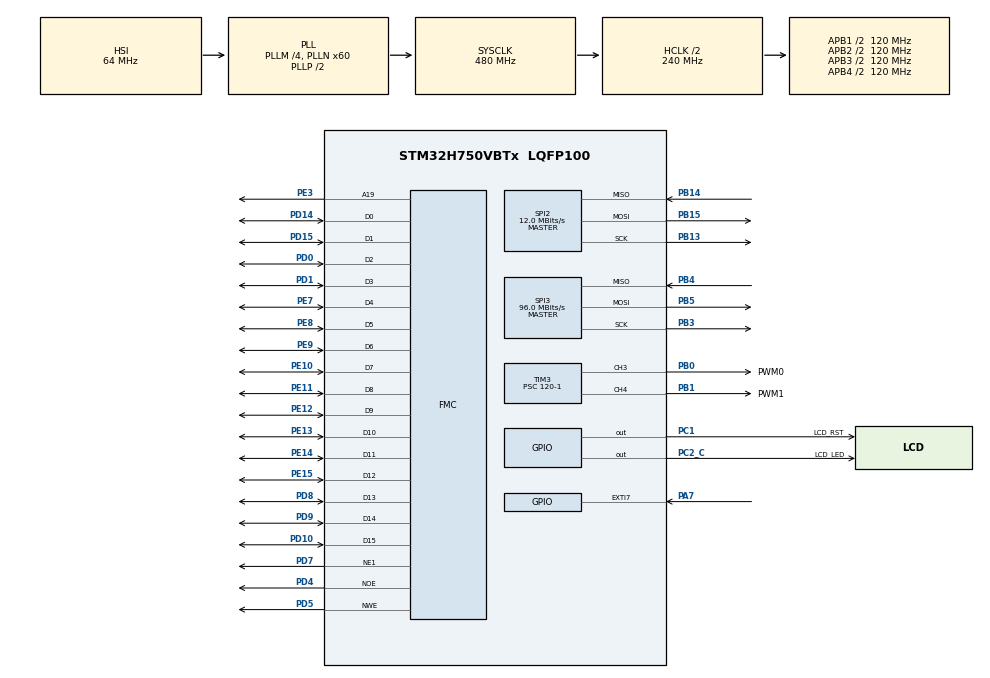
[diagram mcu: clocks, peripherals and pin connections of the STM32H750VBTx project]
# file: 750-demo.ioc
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CORTEX_M7.AccessPermission-Cortex_Memory_Protection_Unit_Region0_Settings=MPU_REGION_FULL_ACCESS
CORTEX_M7.AccessPermission-Cortex_Memory_Protection_Unit_Region1_Settings=MPU_REGION_FULL_ACCESS
CORTEX_M7.BaseAddress-Cortex_Memory_Protection_Unit_Region0_Settings=0x6000000
CORTEX_M7.BaseAddress-Cortex_Memory_Protection_Unit_Region1_Settings=0x24000000
CORTEX_M7.CPU_DCache=Enabled
CORTEX_M7.CPU_ICache=Enabled
CORTEX_M7.Enable-Cortex_Memory_Protection_Unit_Region0_Settings=MPU_REGION_ENABLE
CORTEX_M7.Enable-Cortex_Memory_Protection_Unit_Region1_Settings=MPU_REGION_ENABLE
CORTEX_M7.IsBufferable-Cortex_Memory_Protection_Unit_Region0_Settings=MPU_ACCESS_BUFFERABLE
CORTEX_M7.IsBufferable-Cortex_Memory_Protection_Unit_Region1_Settings=MPU_ACCESS_BUFFERABLE
CORTEX_M7.MPU_Control=MPU_PRIVILEGED_DEFAULT
CORTEX_M7.Size-Cortex_Memory_Protection_Unit_Region0_Settings=MPU_REGION_SIZE_256MB
CORTEX_M7.Size-Cortex_Memory_Protection_Unit_Region1_Settings=MPU_REGION_SIZE_512KB
CORTEX_M7.default_mode_Activation=0
Dma.Request0=TIM3_CH3
Dma.Request1=TIM3_CH4
Dma.Request2=SPI2_TX
Dma.Request3=SPI2_RX
Dma.SPI2_RX.3.Direction=DMA_PERIPH_TO_MEMORY
Dma.SPI2_RX.3.EventEnable=DISABLE
Dma.SPI2_RX.3.FIFOMode=DMA_FIFOMODE_DISABLE
Dma.SPI2_RX.3.Instance=DMA2_Stream1
Dma.SPI2_RX.3.MemDataAlignment=DMA_MDATAALIGN_HALFWORD
Dma.SPI2_RX.3.MemInc=DMA_MINC_ENABLE
Dma.SPI2_RX.3.Mode=DMA_NORMAL
Dma.SPI2_RX.3.PeriphDataAlignment=DMA_PDATAALIGN_HALFWORD
Dma.SPI2_RX.3.PeriphInc=DMA_PINC_DISABLE
Dma.SPI2_RX.3.Polarity=HAL_DMAMUX_REQ_GEN_RISING
Dma.SPI2_RX.3.Priority=DMA_PRIORITY_LOW
Dma.SPI2_RX.3.RequestNumber=1
Dma.SPI2_RX.3.SignalID=NONE
Dma.SPI2_RX.3.SyncEnable=DISABLE
Dma.SPI2_RX.3.SyncPolarity=HAL_DMAMUX_SYNC_NO_EVENT
Dma.SPI2_RX.3.SyncRequestNumber=1
Dma.SPI2_RX.3.SyncSignalID=NONE
Dma.SPI2_TX.2.Direction=DMA_MEMORY_TO_PERIPH
Dma.SPI2_TX.2.EventEnable=DISABLE
Dma.SPI2_TX.2.FIFOMode=DMA_FIFOMODE_DISABLE
Dma.SPI2_TX.2.Instance=DMA2_Stream0
Dma.SPI2_TX.2.MemDataAlignment=DMA_MDATAALIGN_HALFWORD
Dma.SPI2_TX.2.MemInc=DMA_MINC_ENABLE
Dma.SPI2_TX.2.Mode=DMA_NORMAL
Dma.SPI2_TX.2.PeriphDataAlignment=DMA_PDATAALIGN_HALFWORD
Dma.SPI2_TX.2.PeriphInc=DMA_PINC_DISABLE
Dma.SPI2_TX.2.Polarity=HAL_DMAMUX_REQ_GEN_RISING
Dma.SPI2_TX.2.Priority=DMA_PRIORITY_LOW
Dma.SPI2_TX.2.RequestNumber=1
Dma.SPI2_TX.2.SignalID=NONE
Dma.SPI2_TX.2.SyncEnable=DISABLE
Dma.SPI2_TX.2.SyncPolarity=HAL_DMAMUX_SYNC_NO_EVENT
Dma.SPI2_TX.2.SyncRequestNumber=1
Dma.SPI2_TX.2.SyncSignalID=NONE
Dma.TIM3_CH3.0.Direction=DMA_MEMORY_TO_PERIPH
Dma.TIM3_CH3.0.EventEnable=DISABLE
Dma.TIM3_CH3.0.FIFOMode=DMA_FIFOMODE_DISABLE
Dma.TIM3_CH3.0.Instance=DMA1_Stream0
Dma.TIM3_CH3.0.MemDataAlignment=DMA_MDATAALIGN_HALFWORD
Dma.TIM3_CH3.0.MemInc=DMA_MINC_ENABLE
Dma.TIM3_CH3.0.Mode=DMA_NORMAL
Dma.TIM3_CH3.0.PeriphDataAlignment=DMA_PDATAALIGN_HALFWORD
Dma.TIM3_CH3.0.PeriphInc=DMA_PINC_DISABLE
Dma.TIM3_CH3.0.Polarity=HAL_DMAMUX_REQ_GEN_RISING
Dma.TIM3_CH3.0.Priority=DMA_PRIORITY_MEDIUM
Dma.TIM3_CH3.0.RequestNumber=1
Dma.TIM3_CH3.0.SignalID=NONE
Dma.TIM3_CH3.0.SyncEnable=DISABLE
Dma.TIM3_CH3.0.SyncPolarity=HAL_DMAMUX_SYNC_NO_EVENT
Dma.TIM3_CH3.0.SyncRequestNumber=1
Dma.TIM3_CH3.0.SyncSignalID=NONE
Dma.TIM3_CH4.1.Direction=DMA_MEMORY_TO_PERIPH
Dma.TIM3_CH4.1.EventEnable=DISABLE
Dma.TIM3_CH4.1.FIFOMode=DMA_FIFOMODE_DISABLE
Dma.TIM3_CH4.1.Instance=DMA1_Stream1
Dma.TIM3_CH4.1.MemDataAlignment=DMA_MDATAALIGN_HALFWORD
Dma.TIM3_CH4.1.MemInc=DMA_MINC_ENABLE
Dma.TIM3_CH4.1.Mode=DMA_NORMAL
Dma.TIM3_CH4.1.PeriphDataAlignment=DMA_PDATAALIGN_HALFWORD
Dma.TIM3_CH4.1.PeriphInc=DMA_PINC_DISABLE
Dma.TIM3_CH4.1.Polarity=HAL_DMAMUX_REQ_GEN_RISING
Dma.TIM3_CH4.1.Priority=DMA_PRIORITY_MEDIUM
Dma.TIM3_CH4.1.RequestNumber=1
Dma.TIM3_CH4.1.SignalID=NONE
Dma.TIM3_CH4.1.SyncEnable=DISABLE
Dma.TIM3_CH4.1.SyncPolarity=HAL_DMAMUX_SYNC_NO_EVENT
Dma.TIM3_CH4.1.SyncRequestNumber=1
Dma.TIM3_CH4.1.SyncSignalID=NONE
FMC.AddressSetupTime1=2
FMC.DataSetupTime1=5
FMC.ExtendedAddressSetupTime1=0
FMC.ExtendedDataSetupTime1=4
FMC.ExtendedMode1=FMC_EXTENDED_MODE_ENABLE
Mcu.Family=STM32H7
Mcu.Name=STM32H750VBTx
Mcu.Package=LQFP100
NVIC.DMA1_Stream0_IRQn=true\:0\:0\:false\:false\:true\:false\:true\:true
NVIC.DMA1_Stream1_IRQn=true\:0\:0\:false\:false\:true\:false\:true\:true
NVIC.DMA2_Stream0_IRQn=true\:0\:0\:false\:false\:true\:false\:true\:true
NVIC.DMA2_Stream1_IRQn=true\:0\:0\:false\:false\:true\:false\:true\:true
NVIC.EXTI9_5_IRQn=true\:3\:0\:true\:false\:true\:true\:true\:true
NVIC.PriorityGroup=NVIC_PRIORITYGROUP_4
NVIC.SPI2_IRQn=true\:0\:0\:false\:false\:true\:false\:true\:true
PA13\ (JTMS/SWDIO).Mode=Serial_Wire
PA13\ (JTMS/SWDIO).Signal=DEBUG_JTMS-SWDIO
PA14\ (JTCK/SWCLK).Mode=Serial_Wire
PA14\ (JTCK/SWCLK).Signal=DEBUG_JTCK-SWCLK
PA7.Signal=GPXTI7
PB0.GPIO_Label=PWM0
PB0.Signal=S_TIM3_CH3
PB1.GPIO_Label=PWM1
PB1.Signal=S_TIM3_CH4
PB12.Signal=SPI2_NSS
PB13.Mode=Full_Duplex_Master
PB13.Signal=SPI2_SCK
PB14.Mode=Full_Duplex_Master
PB14.Signal=SPI2_MISO
PB15.Mode=Full_Duplex_Master
PB15.Signal=SPI2_MOSI
PB3\ (JTDO/TRACESWO).Mode=Full_Duplex_Master
PB3\ (JTDO/TRACESWO).Signal=SPI3_SCK
PB4\ (NJTRST).Mode=Full_Duplex_Master
PB4\ (NJTRST).Signal=SPI3_MISO
PB5.Mode=Full_Duplex_Master
PB5.Signal=SPI3_MOSI
PC1.GPIO_Label=LCD_RST
PC1.GPIO_Speed=GPIO_SPEED_FREQ_HIGH
PC1.PinState=GPIO_PIN_SET
PC1.Signal=GPIO_Output
PC2_C.GPIO_Label=LCD_LED
PC2_C.GPIO_Speed=GPIO_SPEED_FREQ_HIGH
PC2_C.PinState=GPIO_PIN_SET
PC2_C.Signal=GPIO_Output
PD0.Signal=FMC_D2_DA2
PD1.Signal=FMC_D3_DA3
PD10.Signal=FMC_D15_DA15
PD14.Signal=FMC_D0_DA0
PD15.Signal=FMC_D1_DA1
PD4.Signal=FMC_NOE
PD5.Signal=FMC_NWE
PD7.Mode=NorPsramChipSelect1_1
PD7.Signal=FMC_NE1
PD8.Signal=FMC_D13_DA13
PD9.Signal=FMC_D14_DA14
PE10.Signal=FMC_D7_DA7
PE11.Signal=FMC_D8_DA8
PE12.Signal=FMC_D9_DA9
PE13.Signal=FMC_D10_DA10
PE14.Signal=FMC_D11_DA11
PE15.Signal=FMC_D12_DA12
PE3.Signal=FMC_A19
PE7.Signal=FMC_D4_DA4
PE8.Signal=FMC_D5_DA5
PE9.Signal=FMC_D6_DA6
PH0-OSC_IN\ (PH0).Mode=HSE-External-Oscillator
PH0-OSC_IN\ (PH0).Signal=RCC_OSC_IN
PH1-OSC_OUT\ (PH1).Mode=HSE-External-Oscillator
PH1-OSC_OUT\ (PH1).Signal=RCC_OSC_OUT
ProjectManager.HeapSize=0x200
ProjectManager.StackSize=0x400
ProjectManager.TargetToolchain=MDK-ARM V5.27
RCC.ADCFreq_Value=129000000
RCC.APB1Freq_Value=120000000
RCC.APB2Freq_Value=120000000
RCC.APB3Freq_Value=120000000
RCC.APB4Freq_Value=120000000
RCC.CortexFreq_Value=480000000
RCC.D1PPRE=RCC_APB3_DIV2
RCC.D2PPRE1=RCC_APB1_DIV2
RCC.D2PPRE2=RCC_APB2_DIV2
RCC.D3PPRE=RCC_APB4_DIV2
RCC.DIVM1=4
RCC.DIVN1=60
RCC.DIVQ1=5
RCC.HCLKFreq_Value=240000000
RCC.HPRE=RCC_HCLK_DIV2
RCC.HSE_VALUE=24000000
RCC.PLL2FRACN=0
RCC.PLL3FRACN=0
RCC.PLLFRACN=0
RCC.SYSCLKFreq_VALUE=480000000
RCC.SYSCLKSource=RCC_SYSCLKSOURCE_PLLCLK
RCC.USBFreq_Value=192000000
SH.FMC_A19.0=FMC_A19,A19_1
SH.FMC_D0_DA0.0=FMC_D0,16b-d1
SH.FMC_D10_DA10.0=FMC_D10,16b-d1
SH.FMC_D11_DA11.0=FMC_D11,16b-d1
SH.FMC_D12_DA12.0=FMC_D12,16b-d1
SH.FMC_D13_DA13.0=FMC_D13,16b-d1
SH.FMC_D14_DA14.0=FMC_D14,16b-d1
SH.FMC_D15_DA15.0=FMC_D15,16b-d1
SH.FMC_D1_DA1.0=FMC_D1,16b-d1
SH.FMC_D2_DA2.0=FMC_D2,16b-d1
SH.FMC_D3_DA3.0=FMC_D3,16b-d1
SH.FMC_D4_DA4.0=FMC_D4,16b-d1
SH.FMC_D5_DA5.0=FMC_D5,16b-d1
SH.FMC_D6_DA6.0=FMC_D6,16b-d1
SH.FMC_D7_DA7.0=FMC_D7,16b-d1
SH.FMC_D8_DA8.0=FMC_D8,16b-d1
SH.FMC_D9_DA9.0=FMC_D9,16b-d1
SH.FMC_NOE.0=FMC_NOE,Lcd1
SH.FMC_NWE.0=FMC_NWE,Lcd1
SH.S_TIM3_CH3.0=TIM3_CH3,PWM Generation3 CH3
SH.S_TIM3_CH4.0=TIM3_CH4,PWM Generation4 CH4
SPI2.BaudRatePrescaler=SPI_BAUDRATEPRESCALER_16
SPI2.CalculateBaudRate=12.0 MBits/s
SPI2.DataSize=SPI_DATASIZE_16BIT
SPI2.Direction=SPI_DIRECTION_2LINES
SPI2.Mode=SPI_MODE_MASTER
SPI2.VirtualType=VM_MASTER
SPI3.CalculateBaudRate=96.0 MBits/s
SPI3.Direction=SPI_DIRECTION_2LINES
SPI3.Mode=SPI_MODE_MASTER
SPI3.VirtualType=VM_MASTER
TIM3.Channel-PWM\ Generation3\ CH3=TIM_CHANNEL_3
TIM3.Channel-PWM\ Generation4\ CH4=TIM_CHANNEL_4
TIM3.OCMode_PWM-PWM\ Generation4\ CH4=TIM_OCMODE_PWM2
TIM3.Period=100
TIM3.Prescaler=120-1
TIM3.Pulse-PWM\ Generation3\ CH3=50
TIM3.Pulse-PWM\ Generation4\ CH4=50
VP_TIM3_VS_ClockSourceINT.Mode=Internal
board=custom

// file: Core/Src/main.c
/* USER CODE BEGIN Header */
/**
  ******************************************************************************
  * @file           : main.c
  * @brief          : Main program body
  ******************************************************************************
  * @attention
  *
  * Copyright (c) 2024 STMicroelectronics.
  * All rights reserved.
  *
  * This software is licensed under terms that can be found in the LICENSE file
  * in the root directory of this software component.
  * If no LICENSE file comes with this software, it is provided AS-IS.
  *
  ******************************************************************************
  */
/* USER CODE END Header */
#include "main.h"
#include "stdbool.h"
#include "as3933.h"
/* USER CODE BEGIN Includes */
 #define  pwm0_test_number           100
  #define  pwm1_test_number           100
  #define pwm0_channel                  TIM_CHANNEL_3
   #define pwm1_channel                  TIM_CHANNEL_4

 #define pwm_test_count                 2

 uint16_t pwm0_test[16]={0};
  uint16_t pwm1_test[16]={0};
/* USER CODE END Includes */

/* USER CODE BEGIN PTD */

volatile bool o_wake = 0;

bool o_dat_pin = false;
bool o_cl_dat_pin = false;
uint8_t i = 0;
uint8_t j = 0;
uint8_t b_rssi = 0;
uint8_t test_result[10] = { 0 };

uint8_t b_received_data = 0;
/* USER CODE END PTD */

SPI_HandleTypeDef hspi2;
SPI_HandleTypeDef hspi3;
DMA_HandleTypeDef hdma_spi2_tx;
DMA_HandleTypeDef hdma_spi2_rx;

TIM_HandleTypeDef htim3;
DMA_HandleTypeDef hdma_tim3_ch3;
DMA_HandleTypeDef hdma_tim3_ch4;

SRAM_HandleTypeDef hsram1;

void SystemClock_Config(void);
static void MPU_Config(void);
static void MX_GPIO_Init(void);
static void MX_DMA_Init(void);
static void MX_FMC_Init(void);
static void MX_TIM3_Init(void);
static void MX_SPI2_Init(void);
static void MX_SPI3_Init(void);
/* USER CODE BEGIN PFP */
void PWM_Transmit(uint16_t channel);//pwm transmit
void dwt_enable(void);

void dwt_enable(void)
{
	//24.Bit TRCENA in Debug Exception and Monitor Control Register must be set before enable DWT
	CoreDebug->DEMCR |= CoreDebug_DEMCR_TRCENA_Msk;
	// CYCCNT is a free running counter, counting upwards.32 bits. 2^32 / cpuFreq = max time
	DWT->CYCCNT = 0u; // initialize the counter to 0
	DWT->CTRL |= DWT_CTRL_CYCCNTENA_Msk; // Enable the CYCCNT counter.
}
void PWM_Transmit(uint16_t channel)//pwm transmit
{
    if(channel==pwm0_channel)
  {
        for(uint16_t i=0;i<16;i++)
    {
       pwm0_test[i]=pwm_test_count/2;
    }
    pwm0_test[15]=0;
    HAL_TIM_PWM_Start_DMA(&htim3,channel,(uint32_t*)pwm0_test,16);
  }
    else
    {
    for(uint16_t i=0;i<16;i++)
  {
       pwm1_test[i]=pwm_test_count/2;
    }
    pwm1_test[15]=pwm_test_count;

    HAL_TIM_PWM_Start_DMA(&htim3,channel,(uint32_t*)pwm1_test,16);
  }
}

/* USER CODE END PFP */

int main(void)
{

  /* MPU Configuration--------------------------------------------------------*/
  MPU_Config();
/* Enable the CPU Cache */

  /* Enable I-Cache---------------------------------------------------------*/
  SCB_EnableICache();

  /* Enable D-Cache---------------------------------------------------------*/
  SCB_EnableDCache();

  /* MCU Configuration--------------------------------------------------------*/

  /* Reset of all peripherals, Initializes the Flash interface and the Systick. */
  HAL_Init();

  /* Configure the system clock */
  SystemClock_Config();

  /* Initialize all configured peripherals */
  MX_GPIO_Init();
  MX_DMA_Init();
  MX_FMC_Init();
  MX_TIM3_Init();
  MX_SPI2_Init();
  MX_SPI3_Init();
  /* USER CODE BEGIN 2 */

    AS3933_INIT();
    HAL_GPIO_WritePin(GPIOB,GPIO_PIN_2,GPIO_PIN_SET);//sleep拉高
  /* USER CODE END 2 */

  /* Infinite loop */
  while (1)
  {

    /* USER CODE BEGIN 3 */
     for(uint16_t i=1;i<9;i++)
      {
      PWM_Transmit( pwm0_channel);

      PWM_Transmit( pwm1_channel);
          HAL_Delay(100);
      }
        HAL_Delay(500);
  /* USER CODE END 3 */
    }
}

void SystemClock_Config(void)
{
  RCC_OscInitTypeDef RCC_OscInitStruct = {0};
  RCC_ClkInitTypeDef RCC_ClkInitStruct = {0};

  /** Supply configuration update enable
  */
  HAL_PWREx_ConfigSupply(PWR_LDO_SUPPLY);

  /** Configure the main internal regulator output voltage
  */
  __HAL_PWR_VOLTAGESCALING_CONFIG(PWR_REGULATOR_VOLTAGE_SCALE1);

  while(!__HAL_PWR_GET_FLAG(PWR_FLAG_VOSRDY)) {}

  __HAL_RCC_SYSCFG_CLK_ENABLE();
  __HAL_PWR_VOLTAGESCALING_CONFIG(PWR_REGULATOR_VOLTAGE_SCALE0);

  while(!__HAL_PWR_GET_FLAG(PWR_FLAG_VOSRDY)) {}

  /** Initializes the RCC Oscillators according to the specified parameters
  * in the RCC_OscInitTypeDef structure.
  */
  RCC_OscInitStruct.OscillatorType = RCC_OSCILLATORTYPE_HSI;
  RCC_OscInitStruct.HSIState = RCC_HSI_DIV1;
  RCC_OscInitStruct.HSICalibrationValue = RCC_HSICALIBRATION_DEFAULT;
  RCC_OscInitStruct.PLL.PLLState = RCC_PLL_ON;
  RCC_OscInitStruct.PLL.PLLSource = RCC_PLLSOURCE_HSI;
  RCC_OscInitStruct.PLL.PLLM = 4;
  RCC_OscInitStruct.PLL.PLLN = 60;
  RCC_OscInitStruct.PLL.PLLP = 2;
  RCC_OscInitStruct.PLL.PLLQ = 5;
  RCC_OscInitStruct.PLL.PLLR = 2;
  RCC_OscInitStruct.PLL.PLLRGE = RCC_PLL1VCIRANGE_3;
  RCC_OscInitStruct.PLL.PLLVCOSEL = RCC_PLL1VCOWIDE;
  RCC_OscInitStruct.PLL.PLLFRACN = 0;
  if (HAL_RCC_OscConfig(&RCC_OscInitStruct) != HAL_OK)
  {
    Error_Handler();
  }

  /** Initializes the CPU, AHB and APB buses clocks
  */
  RCC_ClkInitStruct.ClockType = RCC_CLOCKTYPE_HCLK|RCC_CLOCKTYPE_SYSCLK
                              |RCC_CLOCKTYPE_PCLK1|RCC_CLOCKTYPE_PCLK2
                              |RCC_CLOCKTYPE_D3PCLK1|RCC_CLOCKTYPE_D1PCLK1;
  RCC_ClkInitStruct.SYSCLKSource = RCC_SYSCLKSOURCE_PLLCLK;
  RCC_ClkInitStruct.SYSCLKDivider = RCC_SYSCLK_DIV1;
  RCC_ClkInitStruct.AHBCLKDivider = RCC_HCLK_DIV2;
  RCC_ClkInitStruct.APB3CLKDivider = RCC_APB3_DIV2;
  RCC_ClkInitStruct.APB1CLKDivider = RCC_APB1_DIV2;
  RCC_ClkInitStruct.APB2CLKDivider = RCC_APB2_DIV2;
  RCC_ClkInitStruct.APB4CLKDivider = RCC_APB4_DIV2;

  if (HAL_RCC_ClockConfig(&RCC_ClkInitStruct, FLASH_LATENCY_4) != HAL_OK)
  {
    Error_Handler();
  }
}

static void MX_SPI2_Init(void)
{

  /* SPI2 parameter configuration*/
  hspi2.Instance = SPI2;
  hspi2.Init.Mode = SPI_MODE_MASTER;
  hspi2.Init.Direction = SPI_DIRECTION_2LINES;
  hspi2.Init.DataSize = SPI_DATASIZE_8BIT;
  hspi2.Init.CLKPolarity = SPI_POLARITY_LOW;
  hspi2.Init.CLKPhase = SPI_PHASE_1EDGE;
  hspi2.Init.NSS = SPI_NSS_SOFT;
  hspi2.Init.BaudRatePrescaler = SPI_BAUDRATEPRESCALER_16;
  hspi2.Init.FirstBit = SPI_FIRSTBIT_MSB;
  hspi2.Init.TIMode = SPI_TIMODE_DISABLE;
  hspi2.Init.CRCCalculation = SPI_CRCCALCULATION_DISABLE;
  hspi2.Init.CRCPolynomial = 0x0;
  hspi2.Init.NSSPMode = SPI_NSS_PULSE_ENABLE;
  hspi2.Init.NSSPolarity = SPI_NSS_POLARITY_LOW;
  hspi2.Init.FifoThreshold = SPI_FIFO_THRESHOLD_01DATA;
  hspi2.Init.TxCRCInitializationPattern = SPI_CRC_INITIALIZATION_ALL_ZERO_PATTERN;
  hspi2.Init.RxCRCInitializationPattern = SPI_CRC_INITIALIZATION_ALL_ZERO_PATTERN;
  hspi2.Init.MasterSSIdleness = SPI_MASTER_SS_IDLENESS_00CYCLE;
  hspi2.Init.MasterInterDataIdleness = SPI_MASTER_INTERDATA_IDLENESS_00CYCLE;
  hspi2.Init.MasterReceiverAutoSusp = SPI_MASTER_RX_AUTOSUSP_DISABLE;
  hspi2.Init.MasterKeepIOState = SPI_MASTER_KEEP_IO_STATE_DISABLE;
  hspi2.Init.IOSwap = SPI_IO_SWAP_DISABLE;
  if (HAL_SPI_Init(&hspi2) != HAL_OK)
  {
    Error_Handler();
  }

}

static void MX_SPI3_Init(void)
{

  /* SPI3 parameter configuration*/
  hspi3.Instance = SPI3;
  hspi3.Init.Mode = SPI_MODE_MASTER;
  hspi3.Init.Direction = SPI_DIRECTION_2LINES;
  hspi3.Init.DataSize = SPI_DATASIZE_4BIT;
  hspi3.Init.CLKPolarity = SPI_POLARITY_LOW;
  hspi3.Init.CLKPhase = SPI_PHASE_1EDGE;
  hspi3.Init.NSS = SPI_NSS_SOFT;
  hspi3.Init.BaudRatePrescaler = SPI_BAUDRATEPRESCALER_2;
  hspi3.Init.FirstBit = SPI_FIRSTBIT_MSB;
  hspi3.Init.TIMode = SPI_TIMODE_DISABLE;
  hspi3.Init.CRCCalculation = SPI_CRCCALCULATION_DISABLE;
  hspi3.Init.CRCPolynomial = 0x0;
  hspi3.Init.NSSPMode = SPI_NSS_PULSE_ENABLE;
  hspi3.Init.NSSPolarity = SPI_NSS_POLARITY_LOW;
  hspi3.Init.FifoThreshold = SPI_FIFO_THRESHOLD_01DATA;
  hspi3.Init.TxCRCInitializationPattern = SPI_CRC_INITIALIZATION_ALL_ZERO_PATTERN;
  hspi3.Init.RxCRCInitializationPattern = SPI_CRC_INITIALIZATION_ALL_ZERO_PATTERN;
  hspi3.Init.MasterSSIdleness = SPI_MASTER_SS_IDLENESS_00CYCLE;
  hspi3.Init.MasterInterDataIdleness = SPI_MASTER_INTERDATA_IDLENESS_00CYCLE;
  hspi3.Init.MasterReceiverAutoSusp = SPI_MASTER_RX_AUTOSUSP_DISABLE;
  hspi3.Init.MasterKeepIOState = SPI_MASTER_KEEP_IO_STATE_DISABLE;
  hspi3.Init.IOSwap = SPI_IO_SWAP_DISABLE;
  if (HAL_SPI_Init(&hspi3) != HAL_OK)
  {
    Error_Handler();
  }

}

static void MX_TIM3_Init(void)
{

  TIM_ClockConfigTypeDef sClockSourceConfig = {0};
  TIM_MasterConfigTypeDef sMasterConfig = {0};
  TIM_OC_InitTypeDef sConfigOC = {0};

  htim3.Instance = TIM3;
  htim3.Init.Prescaler = 1000-1;
  htim3.Init.CounterMode = TIM_COUNTERMODE_UP;
  htim3.Init.Period = (pwm_test_count-1);
  htim3.Init.ClockDivision = TIM_CLOCKDIVISION_DIV1;
  htim3.Init.AutoReloadPreload = TIM_AUTORELOAD_PRELOAD_DISABLE;
  if (HAL_TIM_Base_Init(&htim3) != HAL_OK)
  {
    Error_Handler();
  }
  sClockSourceConfig.ClockSource = TIM_CLOCKSOURCE_INTERNAL;
  if (HAL_TIM_ConfigClockSource(&htim3, &sClockSourceConfig) != HAL_OK)
  {
    Error_Handler();
  }
  if (HAL_TIM_PWM_Init(&htim3) != HAL_OK)
  {
    Error_Handler();
  }
  sMasterConfig.MasterOutputTrigger = TIM_TRGO_RESET;
  sMasterConfig.MasterSlaveMode = TIM_MASTERSLAVEMODE_DISABLE;
  if (HAL_TIMEx_MasterConfigSynchronization(&htim3, &sMasterConfig) != HAL_OK)
  {
    Error_Handler();
  }
  sConfigOC.OCMode = TIM_OCMODE_PWM1;
  sConfigOC.Pulse = 0;
  sConfigOC.OCPolarity = TIM_OCPOLARITY_HIGH;
  sConfigOC.OCFastMode = TIM_OCFAST_DISABLE;
  if (HAL_TIM_PWM_ConfigChannel(&htim3, &sConfigOC, TIM_CHANNEL_3) != HAL_OK)
  {
    Error_Handler();
  }
  sConfigOC.OCMode = TIM_OCMODE_PWM1;
  sConfigOC.Pulse = 0;
  sConfigOC.OCPolarity = TIM_OCPOLARITY_LOW;
  if (HAL_TIM_PWM_ConfigChannel(&htim3, &sConfigOC, TIM_CHANNEL_4) != HAL_OK)
  {
    Error_Handler();
  }
  HAL_TIM_MspPostInit(&htim3);

}

static void MX_DMA_Init(void)
{

  /* DMA controller clock enable */
  __HAL_RCC_DMA1_CLK_ENABLE();
  __HAL_RCC_DMA2_CLK_ENABLE();

  /* DMA interrupt init */
  /* DMA1_Stream0_IRQn interrupt configuration */
  HAL_NVIC_SetPriority(DMA1_Stream0_IRQn, 0, 0);
  HAL_NVIC_EnableIRQ(DMA1_Stream0_IRQn);
  /* DMA1_Stream1_IRQn interrupt configuration */
  HAL_NVIC_SetPriority(DMA1_Stream1_IRQn, 0, 0);
  HAL_NVIC_EnableIRQ(DMA1_Stream1_IRQn);
  /* DMA2_Stream0_IRQn interrupt configuration */
  HAL_NVIC_SetPriority(DMA2_Stream0_IRQn, 0, 0);
  HAL_NVIC_EnableIRQ(DMA2_Stream0_IRQn);
  /* DMA2_Stream1_IRQn interrupt configuration */
  HAL_NVIC_SetPriority(DMA2_Stream1_IRQn, 0, 0);
  HAL_NVIC_EnableIRQ(DMA2_Stream1_IRQn);

}

/* FMC initialization function */
static void MX_FMC_Init(void)
{

  FMC_NORSRAM_TimingTypeDef Timing = {0};
  FMC_NORSRAM_TimingTypeDef ExtTiming = {0};

  /** Perform the SRAM1 memory initialization sequence
  */
  hsram1.Instance = FMC_NORSRAM_DEVICE;
  hsram1.Extended = FMC_NORSRAM_EXTENDED_DEVICE;
  /* hsram1.Init */
  hsram1.Init.NSBank = FMC_NORSRAM_BANK1;
  hsram1.Init.DataAddressMux = FMC_DATA_ADDRESS_MUX_DISABLE;
  hsram1.Init.MemoryType = FMC_MEMORY_TYPE_SRAM;
  hsram1.Init.MemoryDataWidth = FMC_NORSRAM_MEM_BUS_WIDTH_16;
  hsram1.Init.BurstAccessMode = FMC_BURST_ACCESS_MODE_DISABLE;
  hsram1.Init.WaitSignalPolarity = FMC_WAIT_SIGNAL_POLARITY_LOW;
  hsram1.Init.WaitSignalActive = FMC_WAIT_TIMING_BEFORE_WS;
  hsram1.Init.WriteOperation = FMC_WRITE_OPERATION_ENABLE;
  hsram1.Init.WaitSignal = FMC_WAIT_SIGNAL_DISABLE;
  hsram1.Init.ExtendedMode = FMC_EXTENDED_MODE_ENABLE;
  hsram1.Init.AsynchronousWait = FMC_ASYNCHRONOUS_WAIT_DISABLE;
  hsram1.Init.WriteBurst = FMC_WRITE_BURST_DISABLE;
  hsram1.Init.ContinuousClock = FMC_CONTINUOUS_CLOCK_SYNC_ONLY;
  hsram1.Init.WriteFifo = FMC_WRITE_FIFO_ENABLE;
  hsram1.Init.PageSize = FMC_PAGE_SIZE_NONE;
  /* Timing */
  Timing.AddressSetupTime = 2;
  Timing.AddressHoldTime = 15;
  Timing.DataSetupTime = 5;
  Timing.BusTurnAroundDuration = 15;
  Timing.CLKDivision = 16;
  Timing.DataLatency = 17;
  Timing.AccessMode = FMC_ACCESS_MODE_A;
  /* ExtTiming */
  ExtTiming.AddressSetupTime = 0;
  ExtTiming.AddressHoldTime = 15;
  ExtTiming.DataSetupTime = 4;
  ExtTiming.BusTurnAroundDuration = 15;
  ExtTiming.CLKDivision = 16;
  ExtTiming.DataLatency = 17;
  ExtTiming.AccessMode = FMC_ACCESS_MODE_A;

  if (HAL_SRAM_Init(&hsram1, &Timing, &ExtTiming) != HAL_OK)
  {
    Error_Handler( );
  }

}

static void MX_GPIO_Init(void)
{
  GPIO_InitTypeDef GPIO_InitStruct = {0};

  /* GPIO Ports Clock Enable */
  __HAL_RCC_GPIOE_CLK_ENABLE();
  __HAL_RCC_GPIOH_CLK_ENABLE();
  __HAL_RCC_GPIOC_CLK_ENABLE();
  __HAL_RCC_GPIOA_CLK_ENABLE();
  __HAL_RCC_GPIOB_CLK_ENABLE();
  __HAL_RCC_GPIOD_CLK_ENABLE();

  /*Configure GPIO pin Output Level */
  HAL_GPIO_WritePin(GPIOC, LCD_RST_Pin|LCD_LED_Pin, GPIO_PIN_SET);

  /*Configure GPIO pins : LCD_RST_Pin LCD_LED_Pin */
  GPIO_InitStruct.Pin = LCD_RST_Pin|LCD_LED_Pin;
  GPIO_InitStruct.Mode = GPIO_MODE_OUTPUT_PP;
  GPIO_InitStruct.Pull = GPIO_NOPULL;
  GPIO_InitStruct.Speed = GPIO_SPEED_FREQ_HIGH;
  HAL_GPIO_Init(GPIOC, &GPIO_InitStruct);

  /*Configure GPIO pin : PA7 */
  GPIO_InitStruct.Pin = GPIO_PIN_7;
  GPIO_InitStruct.Mode = GPIO_MODE_IT_RISING;
  GPIO_InitStruct.Pull = GPIO_NOPULL;
  HAL_GPIO_Init(GPIOA, &GPIO_InitStruct);

  /* EXTI interrupt init*/
  HAL_NVIC_SetPriority(EXTI9_5_IRQn, 3, 0);
  HAL_NVIC_EnableIRQ(EXTI9_5_IRQn);

/* USER CODE BEGIN MX_GPIO_Init_2 */
  GPIO_InitStruct.Pin = GPIO_PIN_0|GPIO_PIN_1; //led0,led1
  GPIO_InitStruct.Mode = GPIO_MODE_OUTPUT_PP;
  GPIO_InitStruct.Pull = GPIO_NOPULL;
  GPIO_InitStruct.Speed = GPIO_SPEED_FREQ_HIGH;
  HAL_GPIO_Init(GPIOE, &GPIO_InitStruct);

    GPIO_InitStruct.Pin = GPIO_PIN_2; //pwm sleep
  GPIO_InitStruct.Mode = GPIO_MODE_OUTPUT_PP;
  GPIO_InitStruct.Pull = GPIO_NOPULL;
  GPIO_InitStruct.Speed = GPIO_SPEED_FREQ_HIGH;
  HAL_GPIO_Init(GPIOB, &GPIO_InitStruct);
/* USER CODE END MX_GPIO_Init_2 */
}

/* MPU Configuration */

void MPU_Config(void)
{
  MPU_Region_InitTypeDef MPU_InitStruct = {0};

  /* Disables the MPU */
  HAL_MPU_Disable();

  /** Initializes and configures the Region and the memory to be protected
  */
  MPU_InitStruct.Enable = MPU_REGION_ENABLE;
  MPU_InitStruct.Number = MPU_REGION_NUMBER0;
  MPU_InitStruct.BaseAddress = 0x6000000;
  MPU_InitStruct.Size = MPU_REGION_SIZE_256MB;
  MPU_InitStruct.SubRegionDisable = 0x0;
  MPU_InitStruct.TypeExtField = MPU_TEX_LEVEL0;
  MPU_InitStruct.AccessPermission = MPU_REGION_FULL_ACCESS;
  MPU_InitStruct.DisableExec = MPU_INSTRUCTION_ACCESS_ENABLE;
  MPU_InitStruct.IsShareable = MPU_ACCESS_NOT_SHAREABLE;
  MPU_InitStruct.IsCacheable = MPU_ACCESS_NOT_CACHEABLE;
  MPU_InitStruct.IsBufferable = MPU_ACCESS_BUFFERABLE;

  HAL_MPU_ConfigRegion(&MPU_InitStruct);

  /** Initializes and configures the Region and the memory to be protected
  */
  MPU_InitStruct.Number = MPU_REGION_NUMBER1;
  MPU_InitStruct.BaseAddress = 0x24000000;
  MPU_InitStruct.Size = MPU_REGION_SIZE_512KB;

  HAL_MPU_ConfigRegion(&MPU_InitStruct);
  /* Enables the MPU */
  HAL_MPU_Enable(MPU_PRIVILEGED_DEFAULT);

}

void Error_Handler(void)
{
  __disable_irq();
  while (1)
  {
  }
}
